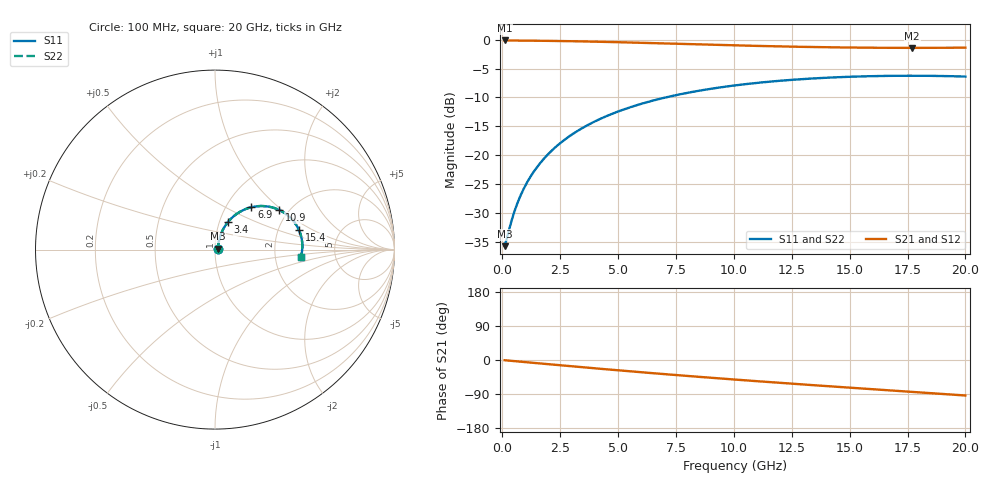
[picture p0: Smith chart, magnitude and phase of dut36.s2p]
! Touchstone file exported from HFSS 2026.1.0
!  File:  C:/ffzhzh/LocalFiles/Ansys_Project_Files/temp_train_TSV_RDL_36_1782964855_45308.aedt
!  Generated:  12:14:48 PM Jul  2, 2026
!  Design:  TSV_RDL
!  Project:  temp_train_TSV_RDL_36_1782964855_45308
! Variables:
!  h_bsmrdl = 2.92um
!  h_ox = 20um
!  h_rdl = 5um
!  h_sub = 53.53um
!  h_tmrdl = 2.18um
!  h_tsv = 53.53um
!  h_via = 3um
!  l_bsmrdl = 192.29um
!  l_sub = 1600.2um
!  l_tmrdl = 123.98um
!  m_sub = 200um
!  pitch = 40.86um
!  r_tsv = 2.67um
!  s_tmrdl = 10um
!  w_bsmrdl = 29.01um
!  w_sub = 500um
!  w_tmrdl = 13.46um
!  x_tsv_center1 = 130.71um
!  x_tsv_center2 = 352.01um
!  x_tsv_center3 = 489.45um
!  x_tsv_center4 = 710.75um
!  x_tsv_center5 = 848.19um
!  x_tsv_center6 = 1069.49um
# GHz S MA R 50.000000
! Terminal data exported
! Port[1] = TM_RDL1_1_T1
! Port[2] = TM_RDL5_1_T1
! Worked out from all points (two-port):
!   200 points, 100 MHz to 20 GHz, reference 50 ohm
!   highest |S21| = -0.13 dB at 100 MHz (marker M1); lowest = -1.4 dB at 17.7 GHz (marker M2)
!   |S21| within 3 dB of the highest: start of sweep to end of sweep
!   lowest |S11| = -35.7 dB at 100 MHz (marker M3), VSWR 1.03, Z = 51.6 + j0.562 ohm
!   |S11| at or under -10 dB: start of sweep to 7.055 GHz
!   |S22| runs from -35.7 to -6.2 dB; largest |S21 - S12| = 1.1e-14
!   S11 on the Smith chart (normalised r, x): 100 MHz: 1.03, +0.01; 3.4 GHz: 1.10, +0.35; 6.9 GHz: 1.31, +0.68; 10.9 GHz: 1.79, +0.96; 15.4 GHz: 2.61, +0.74; 20 GHz: 2.80, -0.32
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0.1  0.01632 19.5  0.9847 -0.6  0.9847 -0.6  0.01632 19.5
! Gamma 0 0 0 0
! Port Impedance 50 0 50 0
0.4  0.02707 50.9  0.9836 -2.3  0.9836 -2.3  0.02707 50.9
0.7  0.04062 61.4  0.9824 -4.0  0.9824 -4.0  0.04062 61.4
1  0.05477 65.9  0.9813 -5.6  0.9813 -5.6  0.05477 65.9
1.3  0.0692 68.0  0.9801 -7.3  0.9801 -7.3  0.0692 68.0
1.7  0.08859 68.9  0.9783 -9.5  0.9783 -9.5  0.08859 68.9
2.2  0.1128 68.5  0.9756 -12.2  0.9756 -12.2  0.1128 68.5
2.8  0.1413 67.0  0.9716 -15.5  0.9716 -15.5  0.1413 67.0
3.4  0.1692 64.9  0.9668 -18.7  0.9668 -18.7  0.1692 64.9
3.5  0.1738 64.5  0.9659 -19.3  0.9659 -19.3  0.1738 64.5
4.2  0.205 61.6  0.9594 -23.0  0.9594 -23.0  0.205 61.6
5  0.2389 58.1  0.9512 -27.2  0.9512 -27.2  0.2389 58.1
6.8  0.3075 49.8  0.9305 -36.3  0.9305 -36.3  0.3075 49.8
6.9  0.3109 49.4  0.9293 -36.8  0.9293 -36.8  0.3109 49.4
8.4  0.3587 42.6  0.9115 -44.0  0.9115 -44.0  0.3587 42.6
10.1  0.4032 35.1  0.8925 -51.9  0.8925 -51.9  0.4032 35.1
10.9  0.4206 31.6  0.8844 -55.5  0.8844 -55.5  0.4206 31.6
13.4  0.4615 21.2  0.8638 -66.3  0.8638 -66.3  0.4615 21.2
15.4  0.4803 13.1  0.8536 -74.7  0.8536 -74.7  0.4803 13.1
16.7  0.4862 7.9  0.8502 -80.1  0.8502 -80.1  0.4862 7.9
17.7  0.4875 3.9  0.8494 -84.2  0.8494 -84.2  0.4875 3.9
20  0.4794 -5.2  0.8533 -93.7  0.8533 -93.7  0.4794 -5.2
